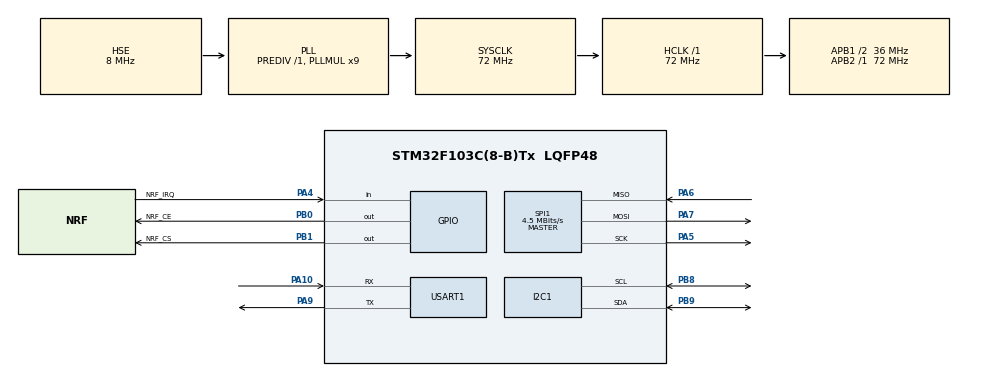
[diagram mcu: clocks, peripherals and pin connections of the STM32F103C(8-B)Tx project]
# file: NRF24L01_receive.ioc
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Mcu.Family=STM32F1
Mcu.Name=STM32F103C(8-B)Tx
Mcu.Package=LQFP48
NVIC.PriorityGroup=NVIC_PRIORITYGROUP_4
PA10.Mode=Asynchronous
PA10.Signal=USART1_RX
PA13.Mode=Serial_Wire
PA13.Signal=SYS_JTMS-SWDIO
PA14.Mode=Serial_Wire
PA14.Signal=SYS_JTCK-SWCLK
PA4.GPIO_Label=NRF_IRQ
PA4.Signal=GPIO_Input
PA5.Mode=Full_Duplex_Master
PA5.Signal=SPI1_SCK
PA6.Mode=Full_Duplex_Master
PA6.Signal=SPI1_MISO
PA7.Mode=Full_Duplex_Master
PA7.Signal=SPI1_MOSI
PA9.Mode=Asynchronous
PA9.Signal=USART1_TX
PB0.GPIO_Label=NRF_CE
PB0.Signal=GPIO_Output
PB1.GPIO_Label=NRF_CS
PB1.Signal=GPIO_Output
PB8.Mode=I2C
PB8.Signal=I2C1_SCL
PB9.Mode=I2C
PB9.Signal=I2C1_SDA
PD0-OSC_IN.Mode=HSE-External-Oscillator
PD0-OSC_IN.Signal=RCC_OSC_IN
PD1-OSC_OUT.Mode=HSE-External-Oscillator
PD1-OSC_OUT.Signal=RCC_OSC_OUT
ProjectManager.HeapSize=0x200
ProjectManager.StackSize=0x400
ProjectManager.TargetToolchain=MDK-ARM V5.32
RCC.AHBFreq_Value=72000000
RCC.APB1CLKDivider=RCC_HCLK_DIV2
RCC.APB1Freq_Value=36000000
RCC.APB1TimFreq_Value=72000000
RCC.APB2Freq_Value=72000000
RCC.APB2TimFreq_Value=72000000
RCC.HCLKFreq_Value=72000000
RCC.PLLMUL=RCC_PLL_MUL9
RCC.PLLSourceVirtual=RCC_PLLSOURCE_HSE
RCC.SYSCLKFreq_VALUE=72000000
RCC.SYSCLKSource=RCC_SYSCLKSOURCE_PLLCLK
RCC.USBFreq_Value=72000000
SPI1.BaudRatePrescaler=SPI_BAUDRATEPRESCALER_16
SPI1.CalculateBaudRate=4.5 MBits/s
SPI1.Direction=SPI_DIRECTION_2LINES
SPI1.Mode=SPI_MODE_MASTER
SPI1.VirtualType=VM_MASTER
USART1.VirtualMode=VM_ASYNC
board=custom

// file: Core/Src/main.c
/* USER CODE BEGIN Header */
/**
  ******************************************************************************
  * @file           : main.c
  * @brief          : Main program body
  ******************************************************************************
  * @attention
  *
  * Copyright (c) 2024 STMicroelectronics.
  * All rights reserved.
  *
  * This software is licensed under terms that can be found in the LICENSE file
  * in the root directory of this software component.
  * If no LICENSE file comes with this software, it is provided AS-IS.
  *
  ******************************************************************************
  */
/* USER CODE END Header */
#include "main.h"
#include "i2c.h"
#include "spi.h"
#include "usart.h"
#include "gpio.h"

/* USER CODE BEGIN Includes */
#include "stdio.h"
#include "string.h"
#include "NRF24L01.h"
#include "OLED.h"
/* USER CODE END Includes */

void SystemClock_Config(void);

int main(void)
{

  /* USER CODE BEGIN 1 */
   uint8_t Receive[33];

  /* USER CODE END 1 */

  /* MCU Configuration--------------------------------------------------------*/

  /* Reset of all peripherals, Initializes the Flash interface and the Systick. */
  HAL_Init();

  /* Configure the system clock */
  SystemClock_Config();

  /* Initialize all configured peripherals */
  MX_GPIO_Init();
  MX_SPI1_Init();
  MX_USART1_UART_Init();
  MX_I2C1_Init();
  /* USER CODE BEGIN 2 */
  OLED_Init();
  OLED_Clear();

while(NRF24L01_Check())
    {
        printf("硬件查寻不到NRF24L01无线模块\n");
        HAL_Delay(1000);
    }

    printf("NRF24L01无线模块硬件连接正常\n");

    NRF24L01_RX_Mode();
    printf("进入数据接收模式\n");
  /* USER CODE END 2 */

  /* Infinite loop */
  while (1)
  {

    /* USER CODE BEGIN 3 */
       if(NRF24L01_RxPacket(Receive)==0)
    {
      Receive[32]=0;//加入字符串结束符
      printf("NRF24L01无线模块数据接收成功：%s\r\n",Receive);
         OLED_ShowString(8, 2, (char*)Receive);
    }
    HAL_Delay(500);
  }

  /* USER CODE END 3 */
}

void SystemClock_Config(void)
{
  RCC_OscInitTypeDef RCC_OscInitStruct = {0};
  RCC_ClkInitTypeDef RCC_ClkInitStruct = {0};

  /** Initializes the RCC Oscillators according to the specified parameters
  * in the RCC_OscInitTypeDef structure.
  */
  RCC_OscInitStruct.OscillatorType = RCC_OSCILLATORTYPE_HSE;
  RCC_OscInitStruct.HSEState = RCC_HSE_ON;
  RCC_OscInitStruct.HSEPredivValue = RCC_HSE_PREDIV_DIV1;
  RCC_OscInitStruct.HSIState = RCC_HSI_ON;
  RCC_OscInitStruct.PLL.PLLState = RCC_PLL_ON;
  RCC_OscInitStruct.PLL.PLLSource = RCC_PLLSOURCE_HSE;
  RCC_OscInitStruct.PLL.PLLMUL = RCC_PLL_MUL9;
  if (HAL_RCC_OscConfig(&RCC_OscInitStruct) != HAL_OK)
  {
    Error_Handler();
  }

  /** Initializes the CPU, AHB and APB buses clocks
  */
  RCC_ClkInitStruct.ClockType = RCC_CLOCKTYPE_HCLK|RCC_CLOCKTYPE_SYSCLK
                              |RCC_CLOCKTYPE_PCLK1|RCC_CLOCKTYPE_PCLK2;
  RCC_ClkInitStruct.SYSCLKSource = RCC_SYSCLKSOURCE_PLLCLK;
  RCC_ClkInitStruct.AHBCLKDivider = RCC_SYSCLK_DIV1;
  RCC_ClkInitStruct.APB1CLKDivider = RCC_HCLK_DIV2;
  RCC_ClkInitStruct.APB2CLKDivider = RCC_HCLK_DIV1;

  if (HAL_RCC_ClockConfig(&RCC_ClkInitStruct, FLASH_LATENCY_2) != HAL_OK)
  {
    Error_Handler();
  }
}

void Error_Handler(void)
{
  __disable_irq();
  while (1)
  {
  }
}
